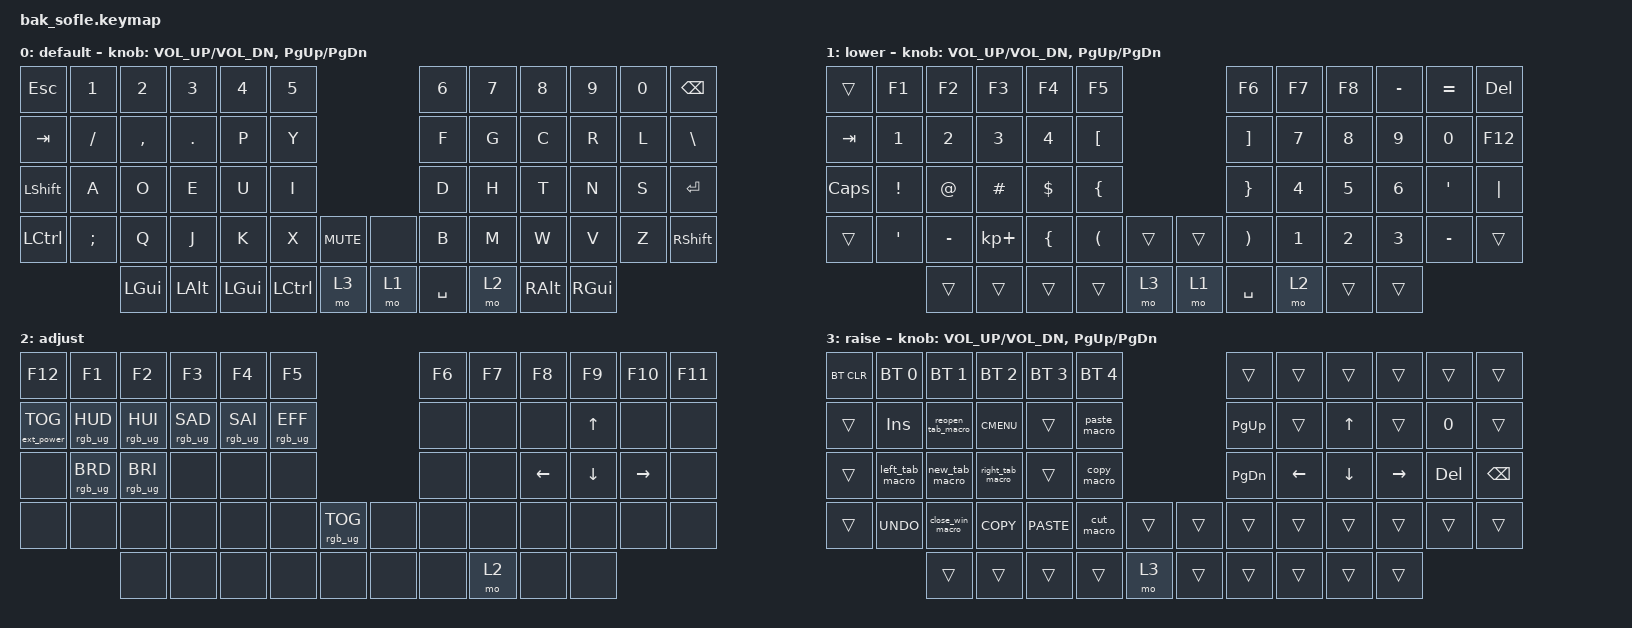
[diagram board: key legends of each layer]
/*
 * Copyright (c) 2020 The ZMK Contributors
 *
 * SPDX-License-Identifier: MIT
 */

#include <behaviors.dtsi>
#include <dt-bindings/zmk/backlight.h>
#include <dt-bindings/zmk/bt.h>
#include <dt-bindings/zmk/ext_power.h>
#include <dt-bindings/zmk/keys.h>
#include <dt-bindings/zmk/rgb.h>
#include <dt-bindings/zmk/mouse.h>


#define BASE 0
#define LOWER 1
#define RAISE 2
#define ADJUST 3

/ {
    // Activate ADJUST layer by pressing raise and lower

    conditional_layers {
        compatible = "zmk,conditional-layers";

        adjust_layer {
            if-layers = <1 4>;
            then-layer = <3>;
        };
    };

    macros {
        cut_macro: cut_macro {
            compatible = "zmk,behavior-macro";
            #binding-cells = <0>;
            bindings =
                <&macro_press &kp LEFT_CONTROL>,
                <&macro_tap &kp X>
                <&macro_release &kp LEFT_CONTROL>;

            label = "CUT_MACRO";
        };

        copy_macro: copy_macro {
            compatible = "zmk,behavior-macro";
            #binding-cells = <0>;
            bindings =
                <&macro_press>,
                <&kp LEFT_CONTROL>,
                <&macro_tap>,
                <&kp C>;

            label = "COPY_MACRO";
        };

        paste_macro: paste_macro {
            compatible = "zmk,behavior-macro";
            #binding-cells = <0>;
            bindings =
                <&macro_press>,
                <&kp LEFT_CONTROL>,
                <&macro_tap>,
                <&kp V>;

            label = "PASTE_MACRO";
        };

        left_tab_macro: left_tab_macro {
            compatible = "zmk,behavior-macro";
            #binding-cells = <0>;
            bindings =
                <&macro_press>,
                <&kp LEFT_CONTROL &kp LEFT_SHIFT>,
                <&macro_tap>,
                <&kp TAB>;

            label = "LEFT_TAB_MACRO";
        };

        right_tab_macro: right_tab_macro {
            compatible = "zmk,behavior-macro";
            #binding-cells = <0>;
            bindings =
                <&macro_press>,
                <&kp LEFT_CONTROL>,
                <&macro_tap>,
                <&kp TAB>;

            label = "RIGHT_TAB_MACRO";
        };

        new_tab_macro: new_tab_macro {
            compatible = "zmk,behavior-macro";
            #binding-cells = <0>;
            bindings =
                <&macro_press>,
                <&kp LEFT_CONTROL>,
                <&macro_tap>,
                <&kp T>;

            label = "NEW_TAB_MACRO";
        };

        close_win_macro: close_win_macro {
            compatible = "zmk,behavior-macro";
            #binding-cells = <0>;
            bindings =
                <&macro_press>,
                <&kp LEFT_CONTROL>,
                <&macro_tap>,
                <&kp W>;

            label = "CLOSE_WIN_MACRO";
        };

        reopen_tab_macro: reopen_tab_macro {
            compatible = "zmk,behavior-macro";
            #binding-cells = <0>;
            bindings =
                <&macro_press>,
                <&kp LEFT_CONTROL &kp LSHFT>,
                <&macro_tap>,
                <&kp T>;

            label = "REOPEN_TAB_MACRO";
        };
    };

    keymap {
        compatible = "zmk,keymap";

        default_layer {
            label = "default";

            // ------------------------------------------------------------------------------------------------------------
            // |   ESC   |  1  |  2  |  3   |  4   |  5   |                   |  6   |  7    |  8    |  9   |   0   |       |
            // |  ESC  |  Q  |  W  |  E   |  R   |  T   |                   |  Y   |  U    |  I    |  O   |   P   | BKSPC |
            // |  TAB  |  A  |  S  |  D   |  F   |  G   |                   |  H   |  J    |  K    |  L   |   ;   |   '   |
            // | SHIFT |  Z  |  X  |  C   |  V   |  B   |  MUTE  |  |       |  N   |  M    |  ,    |  .   |   /   | SHIFT |
            //               | GUI | ALT  | CTRL | LOWER|  ENTER |  | SPACE | RAISE| CTRL  | ALT   | GUI  |

            bindings = <
&kp ESC    &kp N1     &kp N2     &kp N3    &kp N4    &kp N5                          &kp N6     &kp N7  &kp N8    &kp N9    &kp N0  &kp BSPC
&kp TAB    &kp SLASH  &kp COMMA  &kp DOT   &kp P     &kp Y                           &kp F      &kp G   &kp C     &kp R     &kp L   &kp BSLH
&kp LSHFT  &kp A      &kp O      &kp E     &kp U     &kp I                           &kp D      &kp H   &kp T     &kp N     &kp S   &kp RET
&kp LCTRL  &kp SEMI   &kp Q      &kp J     &kp K     &kp X      &kp C_MUTE    &none  &kp B      &kp M   &kp W     &kp V     &kp Z   &kp RSHFT
                      &kp LGUI   &kp LALT  &kp LGUI  &kp LCTRL  &mo 3         &mo 1  &kp SPACE  &mo 2   &kp RALT  &kp RGUI
            >;

            sensor-bindings = <&inc_dec_kp C_VOL_UP C_VOL_DN &inc_dec_kp PG_UP PG_DN>;
        };

        lower_layer {
            label = "lower";

            // TODO: Some binds are waiting for shifted keycode support.
            // ------------------------------------------------------------------------------------------------------------
            // |       |  F1 |  F2 |  F3  |  F4  |  F5  |                   |  F6  |  F7   |  F8   |  F9  |  F10  |  F11  |
            // |   `   |  1  |  2  |  3   |  4   |  5   |                   |  6   |  7    |  8    |  9   |   0   |  F12  |
            // |       |  !  |  @  |  #   |  $   |  %   |                   |  ^   |  &    |  *    |  (   |   )   |   |   |
            // |       |  =  |  -  |  +   |  {   |  }   |        |  |       |  [   |  ]    |  ;    |  :   |   \   |       |
            //               |     |      |      |      |        |  |       |      |       |       |      |

            bindings = <
&trans    &kp F1    &kp F2     &kp F3       &kp F4    &kp F5                                  &kp F6                 &kp F7        &kp F8        &kp MINUS     &kp EQUAL  &kp DELETE
&kp TAB   &kp N1    &kp N2     &kp N3       &kp N4    &kp LEFT_BRACKET                        &kp RIGHT_BRACKET      &kp N7        &kp N8        &kp N9        &kp N0     &kp F12
&kp CAPS  &kp EXCL  &kp AT     &kp HASH     &kp DLLR  &kp LEFT_BRACE                          &kp RIGHT_BRACE        &kp NUMBER_4  &kp N5        &kp N6        &kp SQT    &kp PIPE
&trans    &kp SQT   &kp MINUS  &kp KP_PLUS  &kp LBRC  &kp LEFT_PARENTHESIS  &trans    &trans  &kp RIGHT_PARENTHESIS  &kp NUMBER_1  &kp NUMBER_2  &kp NUMBER_3  &kp MINUS  &trans
                    &trans     &trans       &trans    &trans                &mo 3     &mo 1   &kp SPACE              &mo 2         &trans        &trans
            >;

            sensor-bindings = <&inc_dec_kp C_VOL_UP C_VOL_DN &inc_dec_kp PG_UP PG_DN>;
        };

        adjust_layer {
            // ----------------------------------------------------------------------------------------------------------------------------
            // | BTCLR  |  BT1    |  BT2    |   BT3   |   BT4   |   BT5   |                  |      |      |       |      |       |       |
            // | EXTPWR | RGB_HUD | RGB_HUI | RGB_SAD | RGB_SAI | RGB_EFF |                  |      |      |       |      |       |       |
            // |        | RGB_BRD | RGB_BRI |         |         |         |                  |      |      |       |      |       |       |
            // |        |         |         |         |         |         | RGB_TOG | |      |      |      |       |      |       |       |
            //                    |         |         |         |         |         | |      |      |      |       |      |

            label = "adjust";
            bindings = <
&kp F12            &kp F1           &kp F2           &kp F3           &kp F4           &kp F5                                     &kp F6  &kp F7  &kp F8          &kp F9          &kp F10          &kp F11
&ext_power EP_TOG  &rgb_ug RGB_HUD  &rgb_ug RGB_HUI  &rgb_ug RGB_SAD  &rgb_ug RGB_SAI  &rgb_ug RGB_EFF                            &none   &none   &none           &kp UP_ARROW    &none            &none
&none              &rgb_ug RGB_BRD  &rgb_ug RGB_BRI  &none            &none            &none                                      &none   &none   &kp LEFT_ARROW  &kp DOWN_ARROW  &kp RIGHT_ARROW  &none
&none              &none            &none            &none            &none            &none            &rgb_ug RGB_TOG    &none  &none   &none   &none           &none           &none            &none
                                    &none            &none            &none            &none            &none              &none  &none   &mo 2   &none           &none
            >;
        };

        raise_layer {
            label = "raise";

            // ------------------------------------------------------------------------------------------------------------
            // | BTCLR | BT1  | BT2  |  BT3  |  BT4  |  BT5 |                |      |      |       |      |       |       |
            // |       | INS  | PSCR | GUI   |       |      |                | PGUP |      |   ^   |      |       |       |
            // |       | ALT  | CTRL | SHIFT |       | CAPS |                | PGDN |   <- |   v   |  ->  |  DEL  | BKSPC |
            // |       | UNDO | CUT  | COPY  | PASTE |      |      |  |      |      |      |       |      |       |       |
            //                |      |       |       |      |      |  |      |      |      |       |      |

            bindings = <
&bt BT_CLR  &bt BT_SEL 0     &bt BT_SEL 1       &bt BT_SEL 2      &bt BT_SEL 3  &bt BT_SEL 4                    &trans     &trans    &trans    &trans     &trans   &trans
&trans      &kp INS          &reopen_tab_macro  &kp K_CMENU       &trans        &paste_macro                    &kp PG_UP  &trans    &kp UP    &trans     &kp N0   &trans
&trans      &left_tab_macro  &new_tab_macro     &right_tab_macro  &trans        &copy_macro                     &kp PG_DN  &kp LEFT  &kp DOWN  &kp RIGHT  &kp DEL  &kp BSPC
&trans      &kp K_UNDO       &close_win_macro   &kp K_COPY        &kp K_PASTE   &cut_macro    &trans    &trans  &trans     &trans    &trans    &trans     &trans   &trans
                             &trans             &trans            &trans        &trans        &mo 3     &trans  &trans     &trans    &trans    &trans
            >;

            sensor-bindings = <&inc_dec_kp C_VOL_UP C_VOL_DN &inc_dec_kp PG_UP PG_DN>;
        };
    };
};
